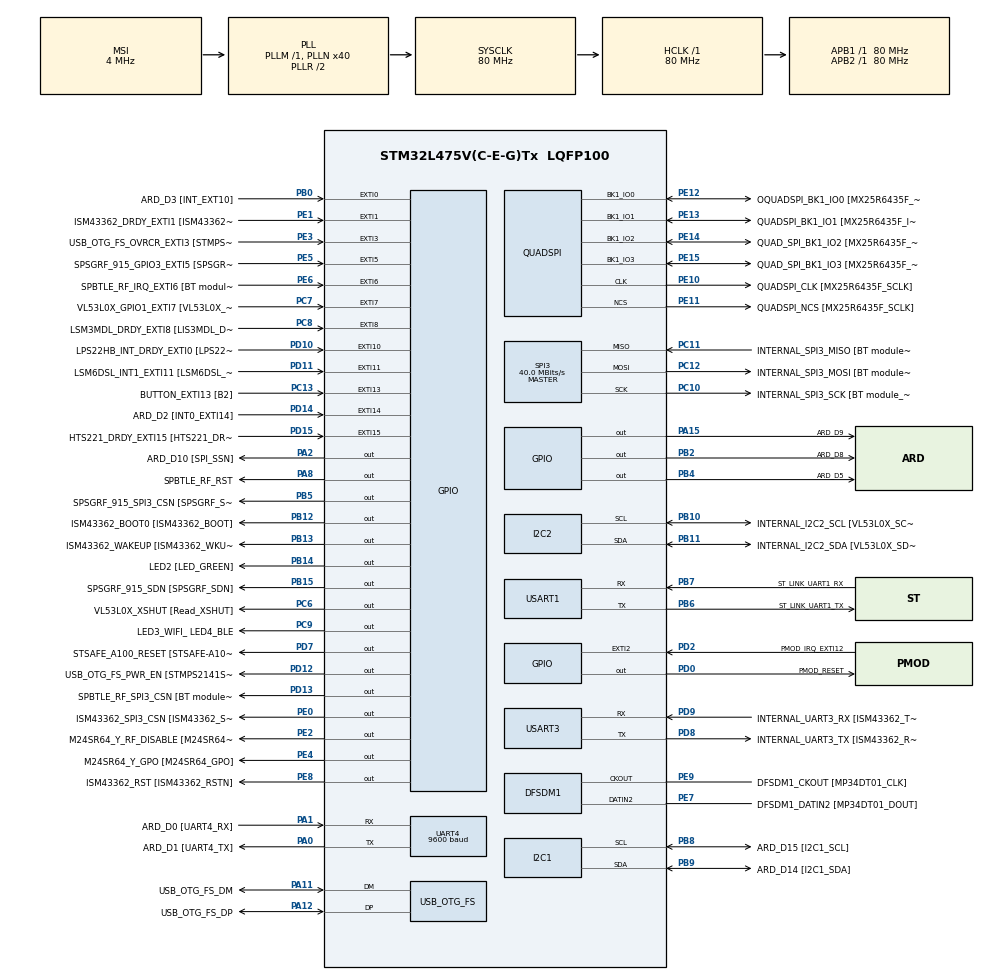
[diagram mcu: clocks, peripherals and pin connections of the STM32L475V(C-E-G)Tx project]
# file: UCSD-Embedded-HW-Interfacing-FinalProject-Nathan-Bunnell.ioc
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PD12.GPIO_Label=USB_OTG_FS_PWR_EN [STMPS2141STR_EN]
SPI3.Direction=SPI_DIRECTION_2LINES
SPI3.VirtualType=VM_MASTER
QUADSPI.ClockPrescaler=2
PB10.Mode=I2C
PC12.Signal=SPI3_MOSI
PB14.GPIO_Label=LED2 [LED_GREEN]
PC6.GPIO_Label=VL53L0X_XSHUT [Read_XSHUT]
PA6.GPIO_Label=ARD_D12 [SPI1_MISO]
PB6.GPIO_Label=ST_LINK_UART1_TX
PA15\ (JTDI).Signal=GPIO_Output
PC15-OSC32_OUT\ (PC15).Mode=LSE-External-Oscillator
PB13.Signal=GPIO_Output
PD6.GPIO_Label=PMOD_UART2_RX
PE6.GPIO_Label=SPBTLE_RF_IRQ_EXTI6 [BT module_SPI_IRQ]
RCC.SYSCLKSource=RCC_SYSCLKSOURCE_PLLCLK
PC14-OSC32_IN\ (PC14).Mode=LSE-External-Oscillator
SH.ADCx_IN16.0=ADC1_IN16
USART3.VirtualMode-Asynchronous=VM_ASYNC
PA14\ (JTCK-SWCLK).Signal=SYS_JTCK-SWCLK
PD4.Signal=USART2_RTS
RCC.APB2TimFreq_Value=80000000
PB6.Signal=USART1_TX
PC7.Signal=GPXTI7
PB6.Mode=Asynchronous
PC3.Signal=ADCx_IN4
PD0.Signal=GPIO_Output
PD8.Signal=USART3_TX
PE5.Signal=GPXTI5
PE1.Signal=GPXTI1
QUADSPI.FlashSize=23
NVIC.EXTI15_10_IRQn=true\:0\:0\:false\:false\:true\:true\:true
PB2.Signal=GPIO_Output
PD1.GPIO_Label=PMOD_SPI2_SCK
PB12.GPIO_Label=ISM43362_BOOT0 [ISM43362_BOOT]
PC4.GPIO_Label=ARD_A1 [ADC]
PE9.Signal=S_CKOUTDFSDM1
PB1.GPIO_Label=ARD_D6 [ADC1_IN6]
PE4.GPIO_Label=M24SR64_Y_GPO [M24SR64_GPO]
PA0.Mode=Asynchronous
PE2.Signal=GPIO_Output
PA8.Signal=GPIO_Output
PE13.Mode=Single Bank
PE10.Signal=QUADSPI_CLK
PA0.Signal=UART4_TX
Mcu.Package=LQFP100
PB9.Signal=I2C1_SDA
PB1.Signal=ADCx_IN16
SPI3.Mode=SPI_MODE_MASTER
SH.ADCx_IN14.0=ADC1_IN14
PD12.Signal=GPIO_Output
PA10.Signal=USB_OTG_FS_ID
PE12.GPIO_Label=OQUADSPI_BK1_IO0 [MX25R6435F_IO0]
PC11.Mode=Full_Duplex_Master
SH.ADCx_IN9.0=ADC1_IN9
RCC.APB1TimFreq_Value=80000000
PA13\ (JTMS-SWDIO).Signal=SYS_JTMS-SWDIO
PE10.GPIO_Label=QUADSPI_CLK [MX25R6435F_SCLK]
PA4.GPIO_Label=ARD_D7
PD15.Signal=GPXTI15
PE12.Mode=Single Bank
PD9.GPIO_Label=INTERNAL_UART3_RX [ISM43362_TX]
PA9.GPIO_Label=USB_OTG_FS_VBUS [STMPS2141STR_OUT]
PC13.Signal=GPXTI13
PD3.Signal=USART2_CTS
PC6.Signal=GPIO_Output
PE10.Mode=Single Bank
PC2.Signal=ADCx_IN3
PB11.GPIO_Label=INTERNAL_I2C2_SDA [VL53L0X_SDA]
PD7.Signal=GPIO_Output
PD1.Signal=SPI2_SCK
PA11.GPIO_Label=USB_OTG_FS_DM
PC0.Signal=ADCx_IN1
PD10.Signal=GPXTI10
PB8.GPIO_Label=ARD_D15 [I2C1_SCL]
PA8.GPIO_Label=SPBTLE_RF_RST
PB11.Mode=I2C
PE8.GPIO_Label=ISM43362_RST [ISM43362_RSTN]
PA9.Signal=USB_OTG_FS_VBUS
I2C1.Timing=0x10909CEC
PE9.GPIO_Label=DFSDM1_CKOUT [MP34DT01_CLK]
PD8.Mode=Asynchronous
PB10.Signal=I2C2_SCL
PB14.Signal=GPIO_Output
PA5.Signal=SPI1_SCK
PC12.Mode=Full_Duplex_Master
PE1.GPIO_Label=ISM43362_DRDY_EXTI1 [ISM43362_DATARDY]
PA1.Mode=Asynchronous
PE14.Signal=QUADSPI_BK1_IO2
PE15.Signal=QUADSPI_BK1_IO3
PB15.GPIO_Label=SPSGRF_915_SDN [SPSGRF_SDN]
PE8.Signal=GPIO_Output
PA1.GPIO_Label=ARD_D0 [UART4_RX]
SH.ADCx_IN4.0=ADC1_IN4
QUADSPI.FifoThreshold=4
PC7.GPIO_Label=VL53L0X_GPIO1_EXTI7 [VL53L0X_GPIO1]
PA13\ (JTMS-SWDIO).Mode=Serial_Wire
PA4.Signal=ADCx_IN9
PB5.Signal=GPIO_Output
PE13.GPIO_Label=QUADSPI_BK1_IO1 [MX25R6435F_IO1]
PA5.GPIO_Label=ARD_D13 [SPI1_SCK]
PD11.Signal=GPXTI11
PE5.GPIO_Label=SPSGRF_915_GPIO3_EXTI5 [SPSGRF_GPIO_3]
PC12.GPIO_Label=INTERNAL_SPI3_MOSI [BT module_SPI_MOSI] [ISM43362_MOSI]
PA11.Signal=USB_OTG_FS_DM
ProjectManager.HeapSize=0x200
NVIC.PriorityGroup=NVIC_PRIORITYGROUP_4
PB8.Mode=I2C
PE3.Signal=GPXTI3
PC3.GPIO_Label=ARD_A2 [ADC]
PB4\ (NJTRST).GPIO_Label=ARD_D5
PD2.Signal=GPXTI2
PB0.Signal=GPXTI0
PC1.Signal=ADCx_IN2
PD2.GPIO_Label=PMOD_IRQ_EXTI12
PE15.Mode=Single Bank
Mcu.Family=STM32L4
RCC.CortexFreq_Value=80000000
PE11.GPIO_Label=QUADSPI_NCS [MX25R6435F_SCLK]
SH.ADCx_IN2.0=ADC1_IN2
PC10.Signal=SPI3_SCK
I2C2.Timing=0x10909CEC
PA0.GPIO_Label=ARD_D1 [UART4_TX]
PC0.GPIO_Label=ARD_A5 [ADC]
PD0.GPIO_Label=PMOD_RESET
PA11.Mode=Device_Only
PB0.GPIO_Label=ARD_D3 [INT_EXT10]
PC13.GPIO_Label=BUTTON_EXTI13 [B2]
PB13.GPIO_Label=ISM43362_WAKEUP [ISM43362_WKUP]
PB11.Signal=I2C2_SDA
PB15.Signal=GPIO_Output
PD9.Mode=Asynchronous
ProjectManager.StackSize=0x400
PB3\ (JTDO-TRACESWO).Signal=SYS_JTDO-SWO
PD13.Signal=GPIO_Output
PA12.Signal=USB_OTG_FS_DP
PE11.Mode=Single Bank
UART4.BaudRate=9600
PD11.GPIO_Label=LSM6DSL_INT1_EXTI11 [LSM6DSL_INT1]
RCC.HCLKFreq_Value=80000000
SH.ADCx_IN3.0=ADC1_IN3
PB5.PinState=GPIO_PIN_SET
RCC.AHBFreq_Value=80000000
RCC.HSE_VALUE=8000000
PE13.Signal=QUADSPI_BK1_IO1
PC11.GPIO_Label=INTERNAL_SPI3_MISO [BT module_SPI_MISO] [ISM43362_MISO]
PA10.GPIO_Label=USB_OTG_FS_ID
PB7.Signal=USART1_RX
PE4.Signal=GPIO_Output
QUADSPI.SampleShifting=QSPI_SAMPLE_SHIFTING_HALFCYCLE
PD7.GPIO_Label=STSAFE_A100_RESET [STSAFE-A100_RESET]
PB7.GPIO_Label=ST_LINK_UART1_RX
PD13.GPIO_Label=SPBTLE_RF_SPI3_CSN [BT module_SPI_CS]
PA6.Signal=SPI1_MISO
PD5.GPIO_Label=PMOD_UART2_TX
PA2.GPIO_Label=ARD_D10 [SPI_SSN]
USB_OTG_FS.VirtualMode=Device_Only
PE0.GPIO_Label=ISM43362_SPI3_CSN [ISM43362_SSN]
SH.ADCx_IN1.0=ADC1_IN1
PB5.GPIO_Label=SPSGRF_915_SPI3_CSN [SPSGRF_SPI_CS]
PC5.Signal=ADCx_IN14
PD3.GPIO_Label=PMOD_UART2_CTS
PE7.Signal=S_DATAIN2DFSDM1
PD6.Signal=USART2_RX
PE2.GPIO_Label=M24SR64_Y_RF_DISABLE [M24SR64_RFDIS]
PC2.GPIO_Label=ARD_A3 [ADC]
RCC.PLLSAI1N=24
PA3.Signal=S_TIM2_CH4
RCC.MSI_VALUE=4000000
PA14\ (JTCK-SWCLK).Mode=Serial_Wire
SH.ADCx_IN13.0=ADC1_IN13
PD15.GPIO_Label=HTS221_DRDY_EXTI15 [HTS221_DRDY]
PB9.GPIO_Label=ARD_D14 [I2C1_SDA]
PC10.GPIO_Label=INTERNAL_SPI3_SCK [BT module_SPI_SCLK] [ISM43362_SCK]
PC9.GPIO_Label=LED3_WIFI_ LED4_BLE
PC11.Signal=SPI3_MISO
PC8.Signal=GPXTI8
PC4.Signal=ADCx_IN13
PC10.Mode=Full_Duplex_Master
SH.S_DATAIN2DFSDM1.0=DFSDM1_DATIN2,PDM_SPI_Input_from_ch12_and_Internal_Clock
PE14.GPIO_Label=QUAD_SPI_BK1_IO2 [MX25R6435F_IO2]
PC15-OSC32_OUT\ (PC15).Signal=RCC_OSC32_OUT
PD9.Signal=USART3_RX
PD5.Signal=USART2_TX
PA14\ (JTCK-SWCLK).GPIO_Label=SYS_JTCK_SWCLK
PB3\ (JTDO-TRACESWO).GPIO_Label=SYS_JTD0_SWO
PA12.GPIO_Label=USB_OTG_FS_DP
PD8.GPIO_Label=INTERNAL_UART3_TX [ISM43362_RX]
PC8.GPIO_Label=LSM3MDL_DRDY_EXTI8 [LIS3MDL_DRDY]
USART1.VirtualMode-Asynchronous=VM_ASYNC
PE0.PinState=GPIO_PIN_SET
PE15.GPIO_Label=QUAD_SPI_BK1_IO3 [MX25R6435F_IO3]
ProjectManager.TargetToolchain=STM32CubeIDE
PB10.GPIO_Label=INTERNAL_I2C2_SCL [VL53L0X_SCL]
PB9.Mode=I2C
RCC.USBFreq_Value=48000000
PD10.GPIO_Label=LPS22HB_INT_DRDY_EXTI0 [LPS22HB_INT_DRDY] 
PE11.Signal=QUADSPI_NCS
PA1.Signal=UART4_RX
board=B-L475E-IOT01A1
RCC.VCOOutputFreq_Value=160000000
RCC.APB2Freq_Value=80000000
SPI3.CalculateBaudRate=40.0 MBits/s
PA13\ (JTMS-SWDIO).GPIO_Label=SYS_JTMS_SWDIO
PD4.GPIO_Label=PMOD_UART2_RTS
PE14.Mode=Single Bank
SH.S_CKOUTDFSDM1.0=DFSDM1_CKOUT,CKOUT
SH.S_CKOUTDFSDM1.1=DFSDM1_CKOUT,PDM_SPI_Input_from_ch12_and_Internal_Clock
RCC.ADCFreq_Value=48000000
PC1.GPIO_Label=ARD_A4 [ADC]
PD14.GPIO_Label=ARD_D2 [INT0_EXTI14]
PE6.Signal=GPXTI6
PA15\ (JTDI).GPIO_Label=ARD_D9
Mcu.Name=STM32L475V(C-E-G)Tx
PE0.Signal=GPIO_Output
PE7.GPIO_Label=DFSDM1_DATIN2 [MP34DT01_DOUT]
PE12.Signal=QUADSPI_BK1_IO0
PA2.Signal=GPIO_Output
PD14.Signal=GPXTI14
RCC.SYSCLKFreq_VALUE=80000000
PA7.GPIO_Label=ARD_D11 [SPI1_MOSI]
PA12.Mode=Device_Only
PC13.GPIO_ModeDefaultEXTI=GPIO_MODE_IT_FALLING
PC5.GPIO_Label=ARD_A0 [ADC]
PC14-OSC32_IN\ (PC14).Signal=RCC_OSC32_IN
PB7.Mode=Asynchronous
NVIC.EXTI9_5_IRQn=true\:0\:0\:false\:false\:true\:true\:true
PB2.GPIO_Label=ARD_D8
SH.S_TIM2_CH4.0=TIM2_CH4
RCC.HSI_VALUE=16000000
RCC.PLLN=40
PB8.Signal=I2C1_SCL
PE3.GPIO_Label=USB_OTG_FS_OVRCR_EXTI3 [STMPS2141STR_FAULT]
PC9.Signal=GPIO_Output
PD13.PinState=GPIO_PIN_SET
RCC.APB1Freq_Value=80000000
PB12.Signal=GPIO_Output
PA3.GPIO_Label=ARD_D4
PA7.Signal=SPI1_MOSI
PB4\ (NJTRST).Signal=GPIO_Output

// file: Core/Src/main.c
/* USER CODE BEGIN Header */
/**
  ******************************************************************************
  * @file           : main.c
  * @brief          : Main program body
  ******************************************************************************
  * @attention
  *
  * <h2><center>&copy; Copyright (c) 2021 STMicroelectronics.
  * All rights reserved.</center></h2>
  *
  * This software component is licensed by ST under BSD 3-Clause license,
  * the "License"; You may not use this file except in compliance with the
  * License. You may obtain a copy of the License at:
  *                        opensource.org/licenses/BSD-3-Clause
  *
  ******************************************************************************
  */
/* USER CODE END Header */
#include "main.h"

/* USER CODE BEGIN Includes */

#include <stdio.h>
#include <string.h>

/* USER CODE END Includes */

/* USER CODE BEGIN PD */

// Define R/W addresses for temp sensor
#define HTS221_READ_ADDRESS 0xbf
#define HTS221_WRITE_ADDRESS 0xbe

#define DS3231_READ_ADDRESS 0xd1
#define DS3231_WRITE_ADDRESS 0xd1

/* USER CODE END PD */

DFSDM_Channel_HandleTypeDef hdfsdm1_channel1;

I2C_HandleTypeDef hi2c1;
I2C_HandleTypeDef hi2c2;

QSPI_HandleTypeDef hqspi;

SPI_HandleTypeDef hspi3;

UART_HandleTypeDef huart4;
UART_HandleTypeDef huart1;
UART_HandleTypeDef huart3;

PCD_HandleTypeDef hpcd_USB_OTG_FS;

/* USER CODE BEGIN PV */

// Global calibration variable declarations
uint8_t H0_rH_Value;
uint8_t H1_rH_Value;
int16_t H0_T0_OUT_Value;
int16_t H1_T0_OUT_Value;

uint8_t T0_degC_Value;
uint8_t T1_degC_Value;
uint8_t T0_degC;
uint8_t T1_degC;
int16_t T0_OUT_Value;
int16_t T1_OUT_Value;

/* USER CODE END PV */

void SystemClock_Config(void);
static void MX_GPIO_Init(void);
static void MX_DFSDM1_Init(void);
static void MX_I2C2_Init(void);
static void MX_QUADSPI_Init(void);
static void MX_SPI3_Init(void);
static void MX_USART1_UART_Init(void);
static void MX_USART3_UART_Init(void);
static void MX_USB_OTG_FS_PCD_Init(void);
static void MX_I2C1_Init(void);
static void MX_UART4_Init(void);
/* USER CODE BEGIN PFP */

static void do_toggle_LED(void);
static void do_get_time(void);
static void do_set_time(void);

static void HTS221_pwr_en(void);
static void HTS221_get_cal_data(void);
static void HTS221_get_sensor_data(void);

/* USER CODE END PFP */

/* USER CODE BEGIN 0 */

static void do_toggle_LED(void)
{
	for (int i = 0; i < 5; i++)
	{
		  HAL_GPIO_TogglePin(LED3_WIFI__LED4_BLE_GPIO_Port, LED3_WIFI__LED4_BLE_Pin);
		  HAL_Delay(250);
	}
}

static void do_get_time(void)
{
	// Large char buffer for strings sent over the console
	char buffer[100] = {0};

	// Register Seconds, address 0x00
	uint8_t Seconds_Address = 0x00;
	HAL_I2C_Master_Transmit(&hi2c1, DS3231_WRITE_ADDRESS, &Seconds_Address, sizeof(Seconds_Address), 1000);
	uint8_t Seconds_Value;
	HAL_I2C_Master_Receive(&hi2c1, DS3231_READ_ADDRESS, (uint8_t *)&Seconds_Value, sizeof(Seconds_Value), 1000);

	// Register Minutes, address 0x01
	uint8_t Minutes_Address = 0x01;
	HAL_I2C_Master_Transmit(&hi2c1, DS3231_WRITE_ADDRESS, &Minutes_Address, sizeof(Minutes_Address), 1000);
	uint8_t Minutes_Value;
	HAL_I2C_Master_Receive(&hi2c1, DS3231_READ_ADDRESS, (uint8_t *)&Minutes_Value, sizeof(Minutes_Value), 1000);

	// Register Hour, address 0x02
	uint8_t Hour_Address = 0x02;
	HAL_I2C_Master_Transmit(&hi2c1, DS3231_WRITE_ADDRESS, &Hour_Address, sizeof(Hour_Address), 1000);
	uint8_t Hour_Value;
	HAL_I2C_Master_Receive(&hi2c1, DS3231_READ_ADDRESS, (uint8_t *)&Hour_Value, sizeof(Hour_Value), 1000);

	// Register Day, address 0x03
	uint8_t Day_Address = 0x03;
	HAL_I2C_Master_Transmit(&hi2c1, DS3231_WRITE_ADDRESS, &Day_Address, sizeof(Day_Address), 1000);
	uint8_t Day_Value;
	HAL_I2C_Master_Receive(&hi2c1, DS3231_READ_ADDRESS, (uint8_t *)&Day_Value, sizeof(Day_Value), 1000);

	// Register Date, address 0x04
	uint8_t Date_Address = 0x04;
	HAL_I2C_Master_Transmit(&hi2c1, DS3231_WRITE_ADDRESS, &Date_Address, sizeof(Date_Address), 1000);
	uint8_t Date_Value;
	HAL_I2C_Master_Receive(&hi2c1, DS3231_READ_ADDRESS, (uint8_t *)&Date_Value, sizeof(Date_Value), 1000);

	// Register Month, address 0x05
	uint8_t Month_Address = 0x05;
	HAL_I2C_Master_Transmit(&hi2c1, DS3231_WRITE_ADDRESS, &Month_Address, sizeof(Month_Address), 1000);
	uint8_t Month_Value;
	HAL_I2C_Master_Receive(&hi2c1, DS3231_READ_ADDRESS, (uint8_t *)&Month_Value, sizeof(Month_Value), 1000);

	// Register Year, address 0x06
	uint8_t Year_Address = 0x06;
	HAL_I2C_Master_Transmit(&hi2c1, DS3231_WRITE_ADDRESS, &Year_Address, sizeof(Year_Address), 1000);
	uint8_t Year_Value;
	HAL_I2C_Master_Receive(&hi2c1, DS3231_READ_ADDRESS, (uint8_t *)&Year_Value, sizeof(Year_Value), 1000);

	// Print results to console
	snprintf(buffer, sizeof(buffer), "\tCurrent time is %02x:%02x:%02x on %02x-%02x-%02x\n\n", \
			Hour_Value, Minutes_Value, Seconds_Value, Month_Value, Date_Value, Year_Value);
	HAL_UART_Transmit(&huart1, (uint8_t*) buffer, strlen(buffer), 1000);

}

static void do_set_time(void)
{
	// Set time to 0's

	// Large char buffer for strings sent over the console
	char buffer[100] = {0};

	// Register Seconds, address 0x00
	uint8_t Seconds_Address = 0x00;
	HAL_I2C_Master_Transmit(&hi2c1, DS3231_WRITE_ADDRESS, &Seconds_Address, sizeof(Seconds_Address), 1000);
	uint8_t Seconds_Value = 0x0;
	HAL_I2C_Master_Transmit(&hi2c1, DS3231_WRITE_ADDRESS, &Seconds_Value, sizeof(Seconds_Value), 1000);

	// Register Minutes, address 0x01
	uint8_t Minutes_Address = 0x01;
	HAL_I2C_Master_Transmit(&hi2c1, DS3231_WRITE_ADDRESS, &Minutes_Address, sizeof(Minutes_Address), 1000);
	uint8_t Minutes_Value = 0x0;
	HAL_I2C_Master_Transmit(&hi2c1, DS3231_WRITE_ADDRESS, &Minutes_Value, sizeof(Minutes_Value), 1000);

	// Register Hour, address 0x02
	uint8_t Hour_Address = 0x02;
	HAL_I2C_Master_Transmit(&hi2c1, DS3231_WRITE_ADDRESS, &Hour_Address, sizeof(Hour_Address), 1000);
	uint8_t Hour_Value = 0x0;
	HAL_I2C_Master_Transmit(&hi2c1, DS3231_WRITE_ADDRESS, &Hour_Value, sizeof(Hour_Value), 1000);

	// Register Day, address 0x03
	uint8_t Day_Address = 0x03;
	HAL_I2C_Master_Transmit(&hi2c1, DS3231_WRITE_ADDRESS, &Day_Address, sizeof(Day_Address), 1000);
	uint8_t Day_Value = 0x01;
	HAL_I2C_Master_Transmit(&hi2c1, DS3231_WRITE_ADDRESS, &Day_Value, sizeof(Day_Value), 1000);

	// Register Date, address 0x04
	uint8_t Date_Address = 0x04;
	HAL_I2C_Master_Transmit(&hi2c1, DS3231_WRITE_ADDRESS, &Date_Address, sizeof(Date_Address), 1000);
	uint8_t Date_Value = 0x01;
	HAL_I2C_Master_Transmit(&hi2c1, DS3231_WRITE_ADDRESS, &Date_Value, sizeof(Date_Value), 1000);

	// Register Month, address 0x05
	uint8_t Month_Address = 0x05;
	HAL_I2C_Master_Transmit(&hi2c1, DS3231_WRITE_ADDRESS, &Month_Address, sizeof(Month_Address), 1000);
	uint8_t Month_Value = 0x01;
	HAL_I2C_Master_Transmit(&hi2c1, DS3231_WRITE_ADDRESS, &Month_Value, sizeof(Month_Value), 1000);

	// Register Year, address 0x06
	uint8_t Year_Address = 0x06;
	HAL_I2C_Master_Transmit(&hi2c1, DS3231_WRITE_ADDRESS, &Year_Address, sizeof(Year_Address), 1000);
	uint8_t Year_Value = 0x01;
	HAL_I2C_Master_Transmit(&hi2c1, DS3231_WRITE_ADDRESS, &Year_Value, sizeof(Year_Value), 1000);

	// Register Temp_LSB, address 0x12
	uint8_t Temp_LSB_Address = 0x12;
	HAL_I2C_Master_Transmit(&hi2c1, DS3231_WRITE_ADDRESS, &Temp_LSB_Address, sizeof(Temp_LSB_Address), 1000);
	uint8_t Temp_LSB_Value = 0x00;
	HAL_I2C_Master_Transmit(&hi2c1, DS3231_WRITE_ADDRESS, &Temp_LSB_Value, sizeof(Temp_LSB_Value), 1000);

	snprintf(buffer, sizeof(buffer), "\tWritten time is %02x:%02x:%02x on %02x-%02x-%02x\n", \
				Hour_Value, Minutes_Value, Seconds_Value, Month_Value, Date_Value, Year_Value);

	HAL_UART_Transmit(&huart1, (uint8_t*) buffer, strlen(buffer), 1000);
}

static void HTS221_pwr_en(void)
{
	// Configure control register 1 (CTRL_REG1, 0x20) bit 7 to enable one-shot
    uint8_t ctrlReg1 = 0x20;
    uint8_t CTRL_REG2_Value[] = {ctrlReg1, (1 << 7)};

    // Send the target register to the device
    HAL_I2C_Master_Transmit(&hi2c2, HTS221_WRITE_ADDRESS, CTRL_REG2_Value, sizeof(CTRL_REG2_Value), 1000);

}

static void HTS221_get_cal_data(void)
{
    /*****************************************************************************************************************/
    // Request humidity and temperature calibration data stored in registers 0x30 to 0x3F
    // Reference pg. 26 of data sheet (https://www.st.com/resource/en/datasheet/hts221.pdf)
    //   for register names and definitions
    // Reference tech note TN1218 on calibration procedures
    // https://www.st.com/resource/en/technical_note/dm00208001-interpreting-humidity-and-temperature-readings-in-the-hts221-digital-humidity-sensor-stmicroelectronics.pdf

    /*****************************************************************************************************************/
    // Humidity calibration values

    // Register H0_rh_x2, address 0x30. Divide register value by 2 for calibration value
    uint8_t H0_rH_Address = 0x30;
	HAL_I2C_Master_Transmit(&hi2c2, HTS221_WRITE_ADDRESS, &H0_rH_Address, sizeof(H0_rH_Address), 1000);
	H0_rH_Value = 0xff; // Junk default value
	HAL_I2C_Master_Receive(&hi2c2, HTS221_READ_ADDRESS, (uint8_t *)&H0_rH_Value, sizeof(H0_rH_Value), 1000);
	H0_rH_Value = H0_rH_Value / 2;

	// Register H1_rh_x2, address 0x31. Divide register value by 2 for calibration value
	uint8_t H1_rH_Address = 0x31;
	HAL_I2C_Master_Transmit(&hi2c2, HTS221_WRITE_ADDRESS, &H1_rH_Address, sizeof(H1_rH_Address), 1000);
	H1_rH_Value = 0xff; // Junk default value
	HAL_I2C_Master_Receive(&hi2c2, HTS221_READ_ADDRESS, (uint8_t *)&H1_rH_Value, sizeof(H1_rH_Value), 1000);
	H1_rH_Value = H1_rH_Value / 2;

	// Register H0_T0_OUT, addresses 0x36 and 0x37
	uint8_t H0_T0_OUT_Address = 0x36 | 0x80;
	HAL_I2C_Master_Transmit(&hi2c2, HTS221_WRITE_ADDRESS, &H0_T0_OUT_Address, sizeof(H0_T0_OUT_Address), 1000);
	H0_T0_OUT_Value = 0xffff; // Junk default value
	HAL_I2C_Master_Receive(&hi2c2, HTS221_READ_ADDRESS, (uint8_t *)&H0_T0_OUT_Value, sizeof(H0_T0_OUT_Value), 1000);

	// Register H1_T0_OUT, addresses 0x3A and 0x3B
	uint8_t H1_T0_OUT_Address = 0x3A | 0x80;
	HAL_I2C_Master_Transmit(&hi2c2, HTS221_WRITE_ADDRESS, &H1_T0_OUT_Address, sizeof(H1_T0_OUT_Address), 1000);
	H1_T0_OUT_Value = 0xffff; // Junk default value
	HAL_I2C_Master_Receive(&hi2c2, HTS221_READ_ADDRESS, (uint8_t *)&H1_T0_OUT_Value, sizeof(H1_T0_OUT_Value), 1000);

    /*****************************************************************************************************************/
    // Temperature calibration values

    // Register T0_degC_x8, address 0x32. Divide register value by 8 for calibration value
    uint8_t T0_degC_Address = 0x32;
	HAL_I2C_Master_Transmit(&hi2c2, HTS221_WRITE_ADDRESS, &T0_degC_Address, sizeof(T0_degC_Address), 1000);
	T0_degC_Value = 0xff; // Junk default value
	HAL_I2C_Master_Receive(&hi2c2, HTS221_READ_ADDRESS, (uint8_t *)&T0_degC_Value, sizeof(T0_degC_Value), 1000);
	T0_degC_Value = T0_degC_Value / 8;

    // Register T1_degC_x8, address 0x33. Divide register value by 8 for calibration value
    uint8_t T1_degC_Address = 0x33;
	HAL_I2C_Master_Transmit(&hi2c2, HTS221_WRITE_ADDRESS, &T1_degC_Address, sizeof(T1_degC_Address), 1000);
	T1_degC_Value = 0xff; // Junk default value
	HAL_I2C_Master_Receive(&hi2c2, HTS221_READ_ADDRESS, (uint8_t *)&T1_degC_Value, sizeof(T1_degC_Value), 1000);
	T1_degC_Value = T1_degC_Value / 8;

    // Register T1/T0 msb, address 0x35. Mask bits (0 & 1), (2 & 3) to get values of T0_degC & T1_degC
    uint8_t T1_T0_msb_Address = 0x35;
	HAL_I2C_Master_Transmit(&hi2c2, HTS221_WRITE_ADDRESS, &T1_T0_msb_Address, sizeof(T1_T0_msb_Address), 1000);
	uint8_t T1_T0_msb_Value = 0xff; // Junk default value
	HAL_I2C_Master_Receive(&hi2c2, HTS221_READ_ADDRESS, (uint8_t *)&T1_T0_msb_Value, sizeof(T1_T0_msb_Value), 1000);
	T0_degC = (T1_T0_msb_Value && (0b0011));
    T1_degC = (T1_T0_msb_Value && (0b1100));

    // Register T0_OUT, addresses 0x3C and 0x3D
	uint8_t T0_OUT_Address = 0x3C | 0x80;
	HAL_I2C_Master_Transmit(&hi2c2, HTS221_WRITE_ADDRESS, &T0_OUT_Address, sizeof(T0_OUT_Address), 1000);
	T0_OUT_Value = 0xffff; // Junk default value
	HAL_I2C_Master_Receive(&hi2c2, HTS221_READ_ADDRESS, (uint8_t *)&T0_OUT_Value, sizeof(T0_OUT_Value), 1000);

    // Register T1_OUT, addresses 0x3C and 0x3D
	uint8_t T1_OUT_Address = 0x3C | 0x80;
	HAL_I2C_Master_Transmit(&hi2c2, HTS221_WRITE_ADDRESS, &T1_OUT_Address, sizeof(T1_OUT_Address), 1000);
	T1_OUT_Value = 0xffff; // Junk default value
	HAL_I2C_Master_Receive(&hi2c2, HTS221_READ_ADDRESS, (uint8_t *)&T1_OUT_Value, sizeof(T1_OUT_Value), 1000);

}

static void HTS221_get_sensor_data(void)
{
    // Large char buffer for strings sent over the console
    char buffer[100] = {0};

	// Configure control register 2 (CTRL_REG2, 0x21) bit 0 to enable one-shot
    uint8_t CTRL_REG2_Address = 0x21;
    uint8_t CTRL_REG2_Value[] = {CTRL_REG2_Address, (1 << 0)};

    // Send the target register to the device
    HAL_I2C_Master_Transmit(&hi2c2, HTS221_WRITE_ADDRESS, CTRL_REG2_Value, sizeof(CTRL_REG2_Value), 1000);

    // Define status register (STATUS_REG2, 0x27) bit 0 to monitor for new sample available
    uint8_t STATUS_Address = 0x27;
    uint8_t STATUS_Value = 0;

    // Print status message to console
	snprintf(buffer, sizeof(buffer), "\tRequesting new sample...");
	HAL_UART_Transmit(&huart1, (uint8_t*) buffer, strlen(buffer), 1000);

    // Loiter for a bit to allow time for conversion to complete and be made available
    uint8_t count = 0;
    while (count < 10)  // arbitrary "long enough" delay value
    {
        // Send the address of the status register
        HAL_I2C_Master_Transmit(&hi2c2, HTS221_WRITE_ADDRESS, &STATUS_Address, sizeof(STATUS_Address), 1000);

        // Read back the value of the status register
        HAL_I2C_Master_Receive(&hi2c2, HTS221_READ_ADDRESS, (uint8_t *)&STATUS_Value, sizeof(STATUS_Value), 1000);

        // If the new sample is ready, break out of while-loop...
        if (STATUS_Value & 0x01)
        {
            break;
        }

        // Update status message on console with '.' to indicate processing
		snprintf(buffer, sizeof(buffer), ".");
		HAL_UART_Transmit(&huart1, (uint8_t*) buffer, strlen(buffer), 1000);

        // Else wait for a bit, increment the counter, and keep looping
        HAL_Delay(100);
        count++;
    }

    // Read the values of the humidity register H_OUT, address 0x28 and 0x29
	uint8_t H_OUT_Address = 0x28 | 0x80;
	HAL_I2C_Master_Transmit(&hi2c2, HTS221_WRITE_ADDRESS, &H_OUT_Address, sizeof(H_OUT_Address), 1000);
	int16_t H_OUT_Value = 0xbeef; // Junk default value
	HAL_I2C_Master_Receive(&hi2c2, HTS221_READ_ADDRESS, (uint8_t *)&H_OUT_Value, sizeof(H_OUT_Value), 1000);

	// Calculate and print value of humidity in %rH.
	int16_t humidityValue = (((H1_rH_Value - H0_rH_Value) * (H_OUT_Value - H0_T0_OUT_Value))/(H1_T0_OUT_Value - H0_T0_OUT_Value)) + (H0_rH_Value);
	snprintf(buffer, sizeof(buffer), "\n\tHumidity: %d%%rH\n", humidityValue);
	HAL_UART_Transmit(&huart1, (uint8_t*) buffer, strlen(buffer), 1000);

	// Read the values of the temperature register T_OUT, address 0x2A and 0x2B
	uint8_t T_OUT_Address = 0x28 | 0x80;
	HAL_I2C_Master_Transmit(&hi2c2, HTS221_WRITE_ADDRESS, &T_OUT_Address, sizeof(T_OUT_Address), 1000);
	int16_t T_OUT_Value = 0xbeef; // Junk default value
	HAL_I2C_Master_Receive(&hi2c2, HTS221_READ_ADDRESS, (uint8_t *)&T_OUT_Value, sizeof(T_OUT_Value), 1000);

    // Calculate and print value of temperature in degC.
	int16_t temperatureValue = (((T1_degC_Value - T0_degC_Value) * (T_OUT_Value - T0_OUT_Value))/(T1_OUT_Value - T0_OUT_Value)) + (T0_degC_Value);
	snprintf(buffer, sizeof(buffer), "\tTemperature: %ddegC\n\n", temperatureValue);
	HAL_UART_Transmit(&huart1, (uint8_t*) buffer, strlen(buffer), 1000);
}

/* USER CODE END 0 */

int main(void)
{

  /* MCU Configuration--------------------------------------------------------*/

  /* Reset of all peripherals, Initializes the Flash interface and the Systick. */
  HAL_Init();

  /* Configure the system clock */
  SystemClock_Config();

  /* Initialize all configured peripherals */
  MX_GPIO_Init();
  MX_DFSDM1_Init();
  MX_I2C2_Init();
  MX_QUADSPI_Init();
  MX_SPI3_Init();
  MX_USART1_UART_Init();
  MX_USART3_UART_Init();
  MX_USB_OTG_FS_PCD_Init();
  MX_I2C1_Init();
  MX_UART4_Init();
  /* USER CODE BEGIN 2 */

  HTS221_pwr_en();
  HTS221_get_cal_data();

  char* cliHeader = "\nsimpleCLI Interface v0.5\n--------------------------------------\n";
  HAL_UART_Transmit(&huart1, (uint8_t*) cliHeader, strlen(cliHeader), 1000);

  /* USER CODE END 2 */

  /* Infinite loop */
  while (1)
  {

    /* USER CODE BEGIN 3 */

	  char* cliPrompt = "Options:\n    1: Blink LEDs!\n    2: Read the temperature & RH!\n    3: Get the time!\n    4: Set the time!\n$>";

	  HAL_UART_Transmit(&huart1, (uint8_t*) cliPrompt, strlen(cliPrompt), 1000);

	  char cliInput = '\0';
	  HAL_UART_Receive(&huart1, (uint8_t*) &cliInput, 1, HAL_MAX_DELAY);

	  switch (cliInput)
	  {
		case '1':
			cliPrompt = "\nToggle BLE/WiFi LED...\n\n";
			HAL_UART_Transmit(&huart1, (uint8_t*) cliPrompt, strlen(cliPrompt), 1000);
			do_toggle_LED();
			break;

		case '2':
			cliPrompt = "\nReading the temperature and RH...\n";
			HAL_UART_Transmit(&huart1, (uint8_t*) cliPrompt, strlen(cliPrompt), 1000);
			HTS221_get_sensor_data();
			break;

		case '3':
			cliPrompt = "\nGetting the time...\n";
			HAL_UART_Transmit(&huart1, (uint8_t*) cliPrompt, strlen(cliPrompt), 1000);
			do_get_time();
			break;

		case '4':
			cliPrompt = "\nSetting the time...\n";
			HAL_UART_Transmit(&huart1, (uint8_t*) cliPrompt, strlen(cliPrompt), 1000);
			do_set_time();
			break;

		default:
			cliPrompt = "Invalid input!\r\n";
			HAL_UART_Transmit(&huart1, (uint8_t*) cliPrompt, strlen(cliPrompt), 1000);
			break;
	}
  }
  /* USER CODE END 3 */
}

void SystemClock_Config(void)
{
  RCC_OscInitTypeDef RCC_OscInitStruct = {0};
  RCC_ClkInitTypeDef RCC_ClkInitStruct = {0};
  RCC_PeriphCLKInitTypeDef PeriphClkInit = {0};

  /** Configure LSE Drive Capability
  */
  HAL_PWR_EnableBkUpAccess();
  __HAL_RCC_LSEDRIVE_CONFIG(RCC_LSEDRIVE_LOW);
  /** Initializes the RCC Oscillators according to the specified parameters
  * in the RCC_OscInitTypeDef structure.
  */
  RCC_OscInitStruct.OscillatorType = RCC_OSCILLATORTYPE_LSE|RCC_OSCILLATORTYPE_MSI;
  RCC_OscInitStruct.LSEState = RCC_LSE_ON;
  RCC_OscInitStruct.MSIState = RCC_MSI_ON;
  RCC_OscInitStruct.MSICalibrationValue = 0;
  RCC_OscInitStruct.MSIClockRange = RCC_MSIRANGE_6;
  RCC_OscInitStruct.PLL.PLLState = RCC_PLL_ON;
  RCC_OscInitStruct.PLL.PLLSource = RCC_PLLSOURCE_MSI;
  RCC_OscInitStruct.PLL.PLLM = 1;
  RCC_OscInitStruct.PLL.PLLN = 40;
  RCC_OscInitStruct.PLL.PLLP = RCC_PLLP_DIV7;
  RCC_OscInitStruct.PLL.PLLQ = RCC_PLLQ_DIV2;
  RCC_OscInitStruct.PLL.PLLR = RCC_PLLR_DIV2;
  if (HAL_RCC_OscConfig(&RCC_OscInitStruct) != HAL_OK)
  {
    Error_Handler();
  }
  /** Initializes the CPU, AHB and APB buses clocks
  */
  RCC_ClkInitStruct.ClockType = RCC_CLOCKTYPE_HCLK|RCC_CLOCKTYPE_SYSCLK
                              |RCC_CLOCKTYPE_PCLK1|RCC_CLOCKTYPE_PCLK2;
  RCC_ClkInitStruct.SYSCLKSource = RCC_SYSCLKSOURCE_PLLCLK;
  RCC_ClkInitStruct.AHBCLKDivider = RCC_SYSCLK_DIV1;
  RCC_ClkInitStruct.APB1CLKDivider = RCC_HCLK_DIV1;
  RCC_ClkInitStruct.APB2CLKDivider = RCC_HCLK_DIV1;

  if (HAL_RCC_ClockConfig(&RCC_ClkInitStruct, FLASH_LATENCY_4) != HAL_OK)
  {
    Error_Handler();
  }
  PeriphClkInit.PeriphClockSelection = RCC_PERIPHCLK_USART1|RCC_PERIPHCLK_USART3
                              |RCC_PERIPHCLK_UART4|RCC_PERIPHCLK_I2C1
                              |RCC_PERIPHCLK_I2C2|RCC_PERIPHCLK_DFSDM1
                              |RCC_PERIPHCLK_USB;
  PeriphClkInit.Usart1ClockSelection = RCC_USART1CLKSOURCE_PCLK2;
  PeriphClkInit.Usart3ClockSelection = RCC_USART3CLKSOURCE_PCLK1;
  PeriphClkInit.Uart4ClockSelection = RCC_UART4CLKSOURCE_PCLK1;
  PeriphClkInit.I2c1ClockSelection = RCC_I2C1CLKSOURCE_PCLK1;
  PeriphClkInit.I2c2ClockSelection = RCC_I2C2CLKSOURCE_PCLK1;
  PeriphClkInit.Dfsdm1ClockSelection = RCC_DFSDM1CLKSOURCE_PCLK;
  PeriphClkInit.UsbClockSelection = RCC_USBCLKSOURCE_PLLSAI1;
  PeriphClkInit.PLLSAI1.PLLSAI1Source = RCC_PLLSOURCE_MSI;
  PeriphClkInit.PLLSAI1.PLLSAI1M = 1;
  PeriphClkInit.PLLSAI1.PLLSAI1N = 24;
  PeriphClkInit.PLLSAI1.PLLSAI1P = RCC_PLLP_DIV7;
  PeriphClkInit.PLLSAI1.PLLSAI1Q = RCC_PLLQ_DIV2;
  PeriphClkInit.PLLSAI1.PLLSAI1R = RCC_PLLR_DIV2;
  PeriphClkInit.PLLSAI1.PLLSAI1ClockOut = RCC_PLLSAI1_48M2CLK;
  if (HAL_RCCEx_PeriphCLKConfig(&PeriphClkInit) != HAL_OK)
  {
    Error_Handler();
  }
  /** Configure the main internal regulator output voltage
  */
  if (HAL_PWREx_ControlVoltageScaling(PWR_REGULATOR_VOLTAGE_SCALE1) != HAL_OK)
  {
    Error_Handler();
  }
  /** Enable MSI Auto calibration
  */
  HAL_RCCEx_EnableMSIPLLMode();
}

static void MX_DFSDM1_Init(void)
{

  hdfsdm1_channel1.Instance = DFSDM1_Channel1;
  hdfsdm1_channel1.Init.OutputClock.Activation = ENABLE;
  hdfsdm1_channel1.Init.OutputClock.Selection = DFSDM_CHANNEL_OUTPUT_CLOCK_SYSTEM;
  hdfsdm1_channel1.Init.OutputClock.Divider = 2;
  hdfsdm1_channel1.Init.Input.Multiplexer = DFSDM_CHANNEL_EXTERNAL_INPUTS;
  hdfsdm1_channel1.Init.Input.DataPacking = DFSDM_CHANNEL_STANDARD_MODE;
  hdfsdm1_channel1.Init.Input.Pins = DFSDM_CHANNEL_FOLLOWING_CHANNEL_PINS;
  hdfsdm1_channel1.Init.SerialInterface.Type = DFSDM_CHANNEL_SPI_RISING;
  hdfsdm1_channel1.Init.SerialInterface.SpiClock = DFSDM_CHANNEL_SPI_CLOCK_INTERNAL;
  hdfsdm1_channel1.Init.Awd.FilterOrder = DFSDM_CHANNEL_FASTSINC_ORDER;
  hdfsdm1_channel1.Init.Awd.Oversampling = 1;
  hdfsdm1_channel1.Init.Offset = 0;
  hdfsdm1_channel1.Init.RightBitShift = 0x00;
  if (HAL_DFSDM_ChannelInit(&hdfsdm1_channel1) != HAL_OK)
  {
    Error_Handler();
  }

}

static void MX_I2C1_Init(void)
{

  hi2c1.Instance = I2C1;
  hi2c1.Init.Timing = 0x10909CEC;
  hi2c1.Init.OwnAddress1 = 0;
  hi2c1.Init.AddressingMode = I2C_ADDRESSINGMODE_7BIT;
  hi2c1.Init.DualAddressMode = I2C_DUALADDRESS_DISABLE;
  hi2c1.Init.OwnAddress2 = 0;
  hi2c1.Init.OwnAddress2Masks = I2C_OA2_NOMASK;
  hi2c1.Init.GeneralCallMode = I2C_GENERALCALL_DISABLE;
  hi2c1.Init.NoStretchMode = I2C_NOSTRETCH_DISABLE;
  if (HAL_I2C_Init(&hi2c1) != HAL_OK)
  {
    Error_Handler();
  }
  /** Configure Analogue filter
  */
  if (HAL_I2CEx_ConfigAnalogFilter(&hi2c1, I2C_ANALOGFILTER_ENABLE) != HAL_OK)
  {
    Error_Handler();
  }
  /** Configure Digital filter
  */
  if (HAL_I2CEx_ConfigDigitalFilter(&hi2c1, 0) != HAL_OK)
  {
    Error_Handler();
  }

}

static void MX_I2C2_Init(void)
{

  hi2c2.Instance = I2C2;
  hi2c2.Init.Timing = 0x10909CEC;
  hi2c2.Init.OwnAddress1 = 0;
  hi2c2.Init.AddressingMode = I2C_ADDRESSINGMODE_7BIT;
  hi2c2.Init.DualAddressMode = I2C_DUALADDRESS_DISABLE;
  hi2c2.Init.OwnAddress2 = 0;
  hi2c2.Init.OwnAddress2Masks = I2C_OA2_NOMASK;
  hi2c2.Init.GeneralCallMode = I2C_GENERALCALL_DISABLE;
  hi2c2.Init.NoStretchMode = I2C_NOSTRETCH_DISABLE;
  if (HAL_I2C_Init(&hi2c2) != HAL_OK)
  {
    Error_Handler();
  }
  /** Configure Analogue filter
  */
  if (HAL_I2CEx_ConfigAnalogFilter(&hi2c2, I2C_ANALOGFILTER_ENABLE) != HAL_OK)
  {
    Error_Handler();
  }
  /** Configure Digital filter
  */
  if (HAL_I2CEx_ConfigDigitalFilter(&hi2c2, 0) != HAL_OK)
  {
    Error_Handler();
  }

}

static void MX_QUADSPI_Init(void)
{

  /* QUADSPI parameter configuration*/
  hqspi.Instance = QUADSPI;
  hqspi.Init.ClockPrescaler = 2;
  hqspi.Init.FifoThreshold = 4;
  hqspi.Init.SampleShifting = QSPI_SAMPLE_SHIFTING_HALFCYCLE;
  hqspi.Init.FlashSize = 23;
  hqspi.Init.ChipSelectHighTime = QSPI_CS_HIGH_TIME_1_CYCLE;
  hqspi.Init.ClockMode = QSPI_CLOCK_MODE_0;
  if (HAL_QSPI_Init(&hqspi) != HAL_OK)
  {
    Error_Handler();
  }

}

static void MX_SPI3_Init(void)
{

  /* SPI3 parameter configuration*/
  hspi3.Instance = SPI3;
  hspi3.Init.Mode = SPI_MODE_MASTER;
  hspi3.Init.Direction = SPI_DIRECTION_2LINES;
  hspi3.Init.DataSize = SPI_DATASIZE_4BIT;
  hspi3.Init.CLKPolarity = SPI_POLARITY_LOW;
  hspi3.Init.CLKPhase = SPI_PHASE_1EDGE;
  hspi3.Init.NSS = SPI_NSS_SOFT;
  hspi3.Init.BaudRatePrescaler = SPI_BAUDRATEPRESCALER_2;
  hspi3.Init.FirstBit = SPI_FIRSTBIT_MSB;
  hspi3.Init.TIMode = SPI_TIMODE_DISABLE;
  hspi3.Init.CRCCalculation = SPI_CRCCALCULATION_DISABLE;
  hspi3.Init.CRCPolynomial = 7;
  hspi3.Init.CRCLength = SPI_CRC_LENGTH_DATASIZE;
  hspi3.Init.NSSPMode = SPI_NSS_PULSE_ENABLE;
  if (HAL_SPI_Init(&hspi3) != HAL_OK)
  {
    Error_Handler();
  }

}

static void MX_UART4_Init(void)
{

  huart4.Instance = UART4;
  huart4.Init.BaudRate = 9600;
  huart4.Init.WordLength = UART_WORDLENGTH_8B;
  huart4.Init.StopBits = UART_STOPBITS_1;
  huart4.Init.Parity = UART_PARITY_NONE;
  huart4.Init.Mode = UART_MODE_TX_RX;
  huart4.Init.HwFlowCtl = UART_HWCONTROL_NONE;
  huart4.Init.OverSampling = UART_OVERSAMPLING_16;
  huart4.Init.OneBitSampling = UART_ONE_BIT_SAMPLE_DISABLE;
  huart4.AdvancedInit.AdvFeatureInit = UART_ADVFEATURE_NO_INIT;
  if (HAL_UART_Init(&huart4) != HAL_OK)
  {
    Error_Handler();
  }

}

static void MX_USART1_UART_Init(void)
{

  huart1.Instance = USART1;
  huart1.Init.BaudRate = 115200;
  huart1.Init.WordLength = UART_WORDLENGTH_8B;
  huart1.Init.StopBits = UART_STOPBITS_1;
  huart1.Init.Parity = UART_PARITY_NONE;
  huart1.Init.Mode = UART_MODE_TX_RX;
  huart1.Init.HwFlowCtl = UART_HWCONTROL_NONE;
  huart1.Init.OverSampling = UART_OVERSAMPLING_16;
  huart1.Init.OneBitSampling = UART_ONE_BIT_SAMPLE_DISABLE;
  huart1.AdvancedInit.AdvFeatureInit = UART_ADVFEATURE_NO_INIT;
  if (HAL_UART_Init(&huart1) != HAL_OK)
  {
    Error_Handler();
  }

}

static void MX_USART3_UART_Init(void)
{

  huart3.Instance = USART3;
  huart3.Init.BaudRate = 115200;
  huart3.Init.WordLength = UART_WORDLENGTH_8B;
  huart3.Init.StopBits = UART_STOPBITS_1;
  huart3.Init.Parity = UART_PARITY_NONE;
  huart3.Init.Mode = UART_MODE_TX_RX;
  huart3.Init.HwFlowCtl = UART_HWCONTROL_NONE;
  huart3.Init.OverSampling = UART_OVERSAMPLING_16;
  huart3.Init.OneBitSampling = UART_ONE_BIT_SAMPLE_DISABLE;
  huart3.AdvancedInit.AdvFeatureInit = UART_ADVFEATURE_NO_INIT;
  if (HAL_UART_Init(&huart3) != HAL_OK)
  {
    Error_Handler();
  }

}

static void MX_USB_OTG_FS_PCD_Init(void)
{

  hpcd_USB_OTG_FS.Instance = USB_OTG_FS;
  hpcd_USB_OTG_FS.Init.dev_endpoints = 6;
  hpcd_USB_OTG_FS.Init.speed = PCD_SPEED_FULL;
  hpcd_USB_OTG_FS.Init.phy_itface = PCD_PHY_EMBEDDED;
  hpcd_USB_OTG_FS.Init.Sof_enable = DISABLE;
  hpcd_USB_OTG_FS.Init.low_power_enable = DISABLE;
  hpcd_USB_OTG_FS.Init.lpm_enable = DISABLE;
  hpcd_USB_OTG_FS.Init.battery_charging_enable = DISABLE;
  hpcd_USB_OTG_FS.Init.use_dedicated_ep1 = DISABLE;
  hpcd_USB_OTG_FS.Init.vbus_sensing_enable = DISABLE;
  if (HAL_PCD_Init(&hpcd_USB_OTG_FS) != HAL_OK)
  {
    Error_Handler();
  }

}

static void MX_GPIO_Init(void)
{
  GPIO_InitTypeDef GPIO_InitStruct = {0};

  /* GPIO Ports Clock Enable */
  __HAL_RCC_GPIOE_CLK_ENABLE();
  __HAL_RCC_GPIOC_CLK_ENABLE();
  __HAL_RCC_GPIOA_CLK_ENABLE();
  __HAL_RCC_GPIOB_CLK_ENABLE();
  __HAL_RCC_GPIOD_CLK_ENABLE();

  /*Configure GPIO pin Output Level */
  HAL_GPIO_WritePin(GPIOE, M24SR64_Y_RF_DISABLE_Pin|M24SR64_Y_GPO_Pin|ISM43362_RST_Pin, GPIO_PIN_RESET);

  /*Configure GPIO pin Output Level */
  HAL_GPIO_WritePin(GPIOA, ARD_D10_Pin|SPBTLE_RF_RST_Pin|ARD_D9_Pin, GPIO_PIN_RESET);

  /*Configure GPIO pin Output Level */
  HAL_GPIO_WritePin(GPIOB, ARD_D8_Pin|ISM43362_BOOT0_Pin|ISM43362_WAKEUP_Pin|LED2_Pin
                          |SPSGRF_915_SDN_Pin|ARD_D5_Pin, GPIO_PIN_RESET);

  /*Configure GPIO pin Output Level */
  HAL_GPIO_WritePin(GPIOD, USB_OTG_FS_PWR_EN_Pin|PMOD_RESET_Pin|STSAFE_A100_RESET_Pin, GPIO_PIN_RESET);

  /*Configure GPIO pin Output Level */
  HAL_GPIO_WritePin(SPBTLE_RF_SPI3_CSN_GPIO_Port, SPBTLE_RF_SPI3_CSN_Pin, GPIO_PIN_SET);

  /*Configure GPIO pin Output Level */
  HAL_GPIO_WritePin(GPIOC, VL53L0X_XSHUT_Pin|LED3_WIFI__LED4_BLE_Pin, GPIO_PIN_RESET);

  /*Configure GPIO pin Output Level */
  HAL_GPIO_WritePin(SPSGRF_915_SPI3_CSN_GPIO_Port, SPSGRF_915_SPI3_CSN_Pin, GPIO_PIN_SET);

  /*Configure GPIO pin Output Level */
  HAL_GPIO_WritePin(ISM43362_SPI3_CSN_GPIO_Port, ISM43362_SPI3_CSN_Pin, GPIO_PIN_SET);

  /*Configure GPIO pins : M24SR64_Y_RF_DISABLE_Pin M24SR64_Y_GPO_Pin ISM43362_RST_Pin ISM43362_SPI3_CSN_Pin */
  GPIO_InitStruct.Pin = M24SR64_Y_RF_DISABLE_Pin|M24SR64_Y_GPO_Pin|ISM43362_RST_Pin|ISM43362_SPI3_CSN_Pin;
  GPIO_InitStruct.Mode = GPIO_MODE_OUTPUT_PP;
  GPIO_InitStruct.Pull = GPIO_NOPULL;
  GPIO_InitStruct.Speed = GPIO_SPEED_FREQ_LOW;
  HAL_GPIO_Init(GPIOE, &GPIO_InitStruct);

  /*Configure GPIO pins : USB_OTG_FS_OVRCR_EXTI3_Pin SPSGRF_915_GPIO3_EXTI5_Pin SPBTLE_RF_IRQ_EXTI6_Pin ISM43362_DRDY_EXTI1_Pin */
  GPIO_InitStruct.Pin = USB_OTG_FS_OVRCR_EXTI3_Pin|SPSGRF_915_GPIO3_EXTI5_Pin|SPBTLE_RF_IRQ_EXTI6_Pin|ISM43362_DRDY_EXTI1_Pin;
  GPIO_InitStruct.Mode = GPIO_MODE_IT_RISING;
  GPIO_InitStruct.Pull = GPIO_NOPULL;
  HAL_GPIO_Init(GPIOE, &GPIO_InitStruct);

  /*Configure GPIO pin : BUTTON_EXTI13_Pin */
  GPIO_InitStruct.Pin = BUTTON_EXTI13_Pin;
  GPIO_InitStruct.Mode = GPIO_MODE_IT_FALLING;
  GPIO_InitStruct.Pull = GPIO_NOPULL;
  HAL_GPIO_Init(BUTTON_EXTI13_GPIO_Port, &GPIO_InitStruct);

  /*Configure GPIO pins : ARD_A5_Pin ARD_A4_Pin ARD_A3_Pin ARD_A2_Pin
                           ARD_A1_Pin ARD_A0_Pin */
  GPIO_InitStruct.Pin = ARD_A5_Pin|ARD_A4_Pin|ARD_A3_Pin|ARD_A2_Pin
                          |ARD_A1_Pin|ARD_A0_Pin;
  GPIO_InitStruct.Mode = GPIO_MODE_ANALOG_ADC_CONTROL;
  GPIO_InitStruct.Pull = GPIO_NOPULL;
  HAL_GPIO_Init(GPIOC, &GPIO_InitStruct);

  /*Configure GPIO pins : ARD_D10_Pin SPBTLE_RF_RST_Pin ARD_D9_Pin */
  GPIO_InitStruct.Pin = ARD_D10_Pin|SPBTLE_RF_RST_Pin|ARD_D9_Pin;
  GPIO_InitStruct.Mode = GPIO_MODE_OUTPUT_PP;
  GPIO_InitStruct.Pull = GPIO_NOPULL;
  GPIO_InitStruct.Speed = GPIO_SPEED_FREQ_LOW;
  HAL_GPIO_Init(GPIOA, &GPIO_InitStruct);

  /*Configure GPIO pin : ARD_D4_Pin */
  GPIO_InitStruct.Pin = ARD_D4_Pin;
  GPIO_InitStruct.Mode = GPIO_MODE_AF_PP;
  GPIO_InitStruct.Pull = GPIO_NOPULL;
  GPIO_InitStruct.Speed = GPIO_SPEED_FREQ_LOW;
  GPIO_InitStruct.Alternate = GPIO_AF1_TIM2;
  HAL_GPIO_Init(ARD_D4_GPIO_Port, &GPIO_InitStruct);

  /*Configure GPIO pin : ARD_D7_Pin */
  GPIO_InitStruct.Pin = ARD_D7_Pin;
  GPIO_InitStruct.Mode = GPIO_MODE_ANALOG_ADC_CONTROL;
  GPIO_InitStruct.Pull = GPIO_NOPULL;
  HAL_GPIO_Init(ARD_D7_GPIO_Port, &GPIO_InitStruct);

  /*Configure GPIO pins : ARD_D13_Pin ARD_D12_Pin ARD_D11_Pin */
  GPIO_InitStruct.Pin = ARD_D13_Pin|ARD_D12_Pin|ARD_D11_Pin;
  GPIO_InitStruct.Mode = GPIO_MODE_AF_PP;
  GPIO_InitStruct.Pull = GPIO_NOPULL;
  GPIO_InitStruct.Speed = GPIO_SPEED_FREQ_VERY_HIGH;
  GPIO_InitStruct.Alternate = GPIO_AF5_SPI1;
  HAL_GPIO_Init(GPIOA, &GPIO_InitStruct);

  /*Configure GPIO pin : ARD_D3_Pin */
  GPIO_InitStruct.Pin = ARD_D3_Pin;
  GPIO_InitStruct.Mode = GPIO_MODE_IT_RISING;
  GPIO_InitStruct.Pull = GPIO_NOPULL;
  HAL_GPIO_Init(ARD_D3_GPIO_Port, &GPIO_InitStruct);

  /*Configure GPIO pin : ARD_D6_Pin */
  GPIO_InitStruct.Pin = ARD_D6_Pin;
  GPIO_InitStruct.Mode = GPIO_MODE_ANALOG_ADC_CONTROL;
  GPIO_InitStruct.Pull = GPIO_NOPULL;
  HAL_GPIO_Init(ARD_D6_GPIO_Port, &GPIO_InitStruct);

  /*Configure GPIO pins : ARD_D8_Pin ISM43362_BOOT0_Pin ISM43362_WAKEUP_Pin LED2_Pin
                           SPSGRF_915_SDN_Pin ARD_D5_Pin SPSGRF_915_SPI3_CSN_Pin */
  GPIO_InitStruct.Pin = ARD_D8_Pin|ISM43362_BOOT0_Pin|ISM43362_WAKEUP_Pin|LED2_Pin
                          |SPSGRF_915_SDN_Pin|ARD_D5_Pin|SPSGRF_915_SPI3_CSN_Pin;
  GPIO_InitStruct.Mode = GPIO_MODE_OUTPUT_PP;
  GPIO_InitStruct.Pull = GPIO_NOPULL;
  GPIO_InitStruct.Speed = GPIO_SPEED_FREQ_LOW;
  HAL_GPIO_Init(GPIOB, &GPIO_InitStruct);

  /*Configure GPIO pins : LPS22HB_INT_DRDY_EXTI0_Pin LSM6DSL_INT1_EXTI11_Pin ARD_D2_Pin HTS221_DRDY_EXTI15_Pin
                           PMOD_IRQ_EXTI12_Pin */
  GPIO_InitStruct.Pin = LPS22HB_INT_DRDY_EXTI0_Pin|LSM6DSL_INT1_EXTI11_Pin|ARD_D2_Pin|HTS221_DRDY_EXTI15_Pin
                          |PMOD_IRQ_EXTI12_Pin;
  GPIO_InitStruct.Mode = GPIO_MODE_IT_RISING;
  GPIO_InitStruct.Pull = GPIO_NOPULL;
  HAL_GPIO_Init(GPIOD, &GPIO_InitStruct);

  /*Configure GPIO pins : USB_OTG_FS_PWR_EN_Pin SPBTLE_RF_SPI3_CSN_Pin PMOD_RESET_Pin STSAFE_A100_RESET_Pin */
  GPIO_InitStruct.Pin = USB_OTG_FS_PWR_EN_Pin|SPBTLE_RF_SPI3_CSN_Pin|PMOD_RESET_Pin|STSAFE_A100_RESET_Pin;
  GPIO_InitStruct.Mode = GPIO_MODE_OUTPUT_PP;
  GPIO_InitStruct.Pull = GPIO_NOPULL;
  GPIO_InitStruct.Speed = GPIO_SPEED_FREQ_LOW;
  HAL_GPIO_Init(GPIOD, &GPIO_InitStruct);

  /*Configure GPIO pins : VL53L0X_XSHUT_Pin LED3_WIFI__LED4_BLE_Pin */
  GPIO_InitStruct.Pin = VL53L0X_XSHUT_Pin|LED3_WIFI__LED4_BLE_Pin;
  GPIO_InitStruct.Mode = GPIO_MODE_OUTPUT_PP;
  GPIO_InitStruct.Pull = GPIO_NOPULL;
  GPIO_InitStruct.Speed = GPIO_SPEED_FREQ_LOW;
  HAL_GPIO_Init(GPIOC, &GPIO_InitStruct);

  /*Configure GPIO pins : VL53L0X_GPIO1_EXTI7_Pin LSM3MDL_DRDY_EXTI8_Pin */
  GPIO_InitStruct.Pin = VL53L0X_GPIO1_EXTI7_Pin|LSM3MDL_DRDY_EXTI8_Pin;
  GPIO_InitStruct.Mode = GPIO_MODE_IT_RISING;
  GPIO_InitStruct.Pull = GPIO_NOPULL;
  HAL_GPIO_Init(GPIOC, &GPIO_InitStruct);

  /*Configure GPIO pin : PMOD_SPI2_SCK_Pin */
  GPIO_InitStruct.Pin = PMOD_SPI2_SCK_Pin;
  GPIO_InitStruct.Mode = GPIO_MODE_AF_PP;
  GPIO_InitStruct.Pull = GPIO_NOPULL;
  GPIO_InitStruct.Speed = GPIO_SPEED_FREQ_VERY_HIGH;
  GPIO_InitStruct.Alternate = GPIO_AF5_SPI2;
  HAL_GPIO_Init(PMOD_SPI2_SCK_GPIO_Port, &GPIO_InitStruct);

  /*Configure GPIO pins : PMOD_UART2_CTS_Pin PMOD_UART2_RTS_Pin PMOD_UART2_TX_Pin PMOD_UART2_RX_Pin */
  GPIO_InitStruct.Pin = PMOD_UART2_CTS_Pin|PMOD_UART2_RTS_Pin|PMOD_UART2_TX_Pin|PMOD_UART2_RX_Pin;
  GPIO_InitStruct.Mode = GPIO_MODE_AF_PP;
  GPIO_InitStruct.Pull = GPIO_NOPULL;
  GPIO_InitStruct.Speed = GPIO_SPEED_FREQ_VERY_HIGH;
  GPIO_InitStruct.Alternate = GPIO_AF7_USART2;
  HAL_GPIO_Init(GPIOD, &GPIO_InitStruct);

  /* EXTI interrupt init*/
  HAL_NVIC_SetPriority(EXTI9_5_IRQn, 0, 0);
  HAL_NVIC_EnableIRQ(EXTI9_5_IRQn);

  HAL_NVIC_SetPriority(EXTI15_10_IRQn, 0, 0);
  HAL_NVIC_EnableIRQ(EXTI15_10_IRQn);

}

void Error_Handler(void)
{
  __disable_irq();
  while (1)
  {
  }
}

/************************ (C) COPYRIGHT STMicroelectronics *****END OF FILE****/
